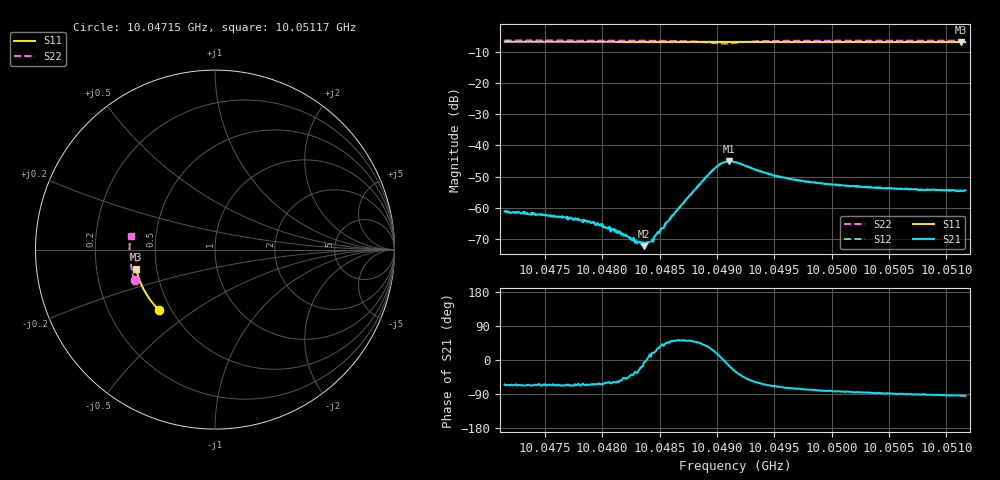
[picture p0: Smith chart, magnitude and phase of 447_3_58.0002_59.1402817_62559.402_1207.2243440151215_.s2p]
#  HZ  S  RI  R  50.00
! Rohde & Schwarz Vector Network Analyzer
! Rohde-Schwarz,ZNB20-2Port,1311601062101988,3.16
! Created: UTC 3/21/2024, 1:10:18 AM
! freq[Hz]  re:S11  im:S11  re:S21  im:S21  re:S12  im:S12  re:S22  im:S22
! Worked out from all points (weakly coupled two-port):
!   401 points, 10.04715 GHz to 10.05117 GHz, reference 50 ohm
!   highest |S21| = -45.09 dB at 10.04911 GHz (marker M1); lowest = -72.3 dB at 10.04836 GHz (marker M2)
!   lowest |S11| = -6.9 dB at 10.05113 GHz (marker M3), VSWR 2.65, Z = 19.1 - j5.33 ohm
!   |S11| at or under -10 dB: nowhere
!   |S22| runs from -7.4 to -6.4 dB; largest |S21 - S12| = 0.00038
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1.0047149e10  -0.3128 -0.3361  0.000374 -0.00079  0.000415 -0.000784  -0.448 -0.1714
1.004731e10  -0.3203 -0.3285  0.000322 -0.000773  0.000402 -0.000755  -0.4515 -0.1609
1.0047742e10  -0.3394 -0.3075  0.000266 -0.000615  0.000296 -0.000588  -0.4596 -0.1322
1.0047822e10  -0.3428 -0.3032  0.000264 -0.000553  0.000325 -0.000549  -0.4609 -0.1269
1.0047983e10  -0.3495 -0.2949  0.000236 -0.000473  0.00028 -0.000472  -0.4633 -0.1155
1.0048033e10  -0.3514 -0.2925  0.000237 -0.00042  0.000266 -0.000411  -0.464 -0.1119
1.0048133e10  -0.3555 -0.2872  0.000219 -0.000326  0.000284 -0.000318  -0.4653 -0.1046
1.0048214e10  -0.3588 -0.2831  0.000246 -0.000267  0.000252 -0.000232  -0.4661 -0.0986
1.0048284e10  -0.3617 -0.2792  0.000236 -0.000147  0.000279 -0.000174  -0.4668 -0.0933
1.0048364e10  -0.3646 -0.275  0.000242 -2.47e-05  0.00028 -2.67e-05  -0.4674 -0.087
1.0048425e10  -0.3669 -0.2717  0.000291 4.72e-05  0.000293 9.56e-05  -0.4675 -0.0821
1.0048495e10  -0.3695 -0.2678  0.000334 0.000208  0.000325 0.000255  -0.4675 -0.0759
1.0048947e10  -0.385 -0.2426  0.00325 0.00186  0.00312 0.0021  -0.4405 -0.0352
1.0049037e10  -0.3879 -0.2376  0.0051 0.000537  0.00509 0.000892  -0.4251 -0.0444
1.0049108e10  -0.3902 -0.2339  0.00535 -0.00152  0.00546 -0.00118  -0.4257 -0.06
1.0049158e10  -0.3918 -0.231  0.00471 -0.00266  0.00493 -0.00238  -0.4339 -0.0671
1.0049509e10  -0.4029 -0.2107  0.00118 -0.00305  0.00133 -0.003  -0.4697 -0.0431
1.0049831e10  -0.4116 -0.1915  0.000486 -0.00252  0.000651 -0.00251  -0.4752 -0.0159
1.0050132e10  -0.4193 -0.1733  0.000273 -0.00224  0.000365 -0.00222  -0.4761 0.00667
1.0050504e10  -0.4274 -0.1504  7.29e-05 -0.00205  0.000168 -0.00204  -0.4753 0.033
1.0051126e10  -0.4383 -0.111  -0.000145 -0.00186  -2.73e-05 -0.0019  -0.4702 0.0751
1.0051166e10  -0.439 -0.1085  -0.000157 -0.0019  -5.47e-05 -0.00188  -0.4698 0.0778
